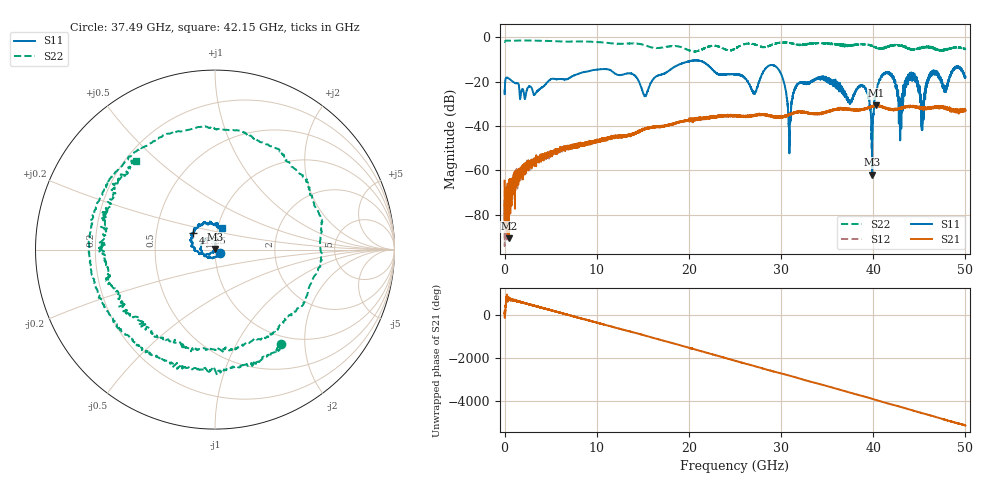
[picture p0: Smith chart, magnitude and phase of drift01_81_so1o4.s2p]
!Created with skrf (http://scikit-rf.org).
# Hz S RI R 50.0
!freq ReS11 ImS11 ReS21 ImS21 ReS12 ImS12 ReS22 ImS22
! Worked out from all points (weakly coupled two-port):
!   10001 points, 300 kHz to 50 GHz, reference 50 ohm
!   highest |S21| = -30.59 dB at 40.3 GHz (marker M1); lowest = -90.7 dB at 460.3 MHz (marker M2)
!   lowest |S11| = -61.9 dB at 39.89 GHz (marker M3), VSWR 1.00, Z = 50 + j0.0786 ohm
!   |S11| at or under -10 dB: start of sweep to end of sweep
!   |S22| runs from -6.4 to -1.3 dB; largest |S21 - S12| = 0.004
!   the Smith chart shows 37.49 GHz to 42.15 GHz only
!   S11 on the Smith chart (normalised r, x): 37.49 GHz: 1.05, -0.04; 41.25 GHz: 0.77, +0.15; 42.15 GHz: 1.05, +0.26
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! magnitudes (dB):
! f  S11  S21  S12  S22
! 300 kHz  -23.9  -64.8  -64.2  -2.1
! 460.3 MHz  -18.6  -90.7  -74.0  -1.4
! 8.335 GHz  -15.9  -48.9  -48.3  -1.8
! 16.67 GHz  -17.1  -40.3  -40.3  -4.8
! 25 GHz  -16.6  -35.5  -35.2  -5.0
! 27.09 GHz  -25.1  -35.0  -35.3  -3.0
! 29.45 GHz  -13.2  -36.0  -35.7  -2.8
! 30.92 GHz  -48.8  -34.7  -35.0  -2.5
! 31.69 GHz  -21.7  -34.1  -33.8  -3.2
! 33.34 GHz  -19.9  -34.5  -34.2  -2.7
! 37.49 GHz  -29.7  -32.4  -32.7  -3.9
! 39 GHz  -22.1  -32.2  -32.3  -3.0
! 39.89 GHz  -61.9  -31.2  -31.1  -3.8
! 40.3 GHz  -24.5  -30.6  -30.9  -4.6
! 41.25 GHz  -16.3  -31.8  -31.7  -4.7
! 41.67 GHz  -15.7  -32.1  -32.4  -4.1
! 42.15 GHz  -17.9  -32.7  -32.7  -3.6
! 42.97 GHz  -30.8  -31.9  -32.0  -3.5
! 44.01 GHz  -17.0  -31.2  -31.1  -5.2
! 45.32 GHz  -37.2  -31.8  -32.1  -4.4
! 46.39 GHz  -15.7  -31.6  -31.3  -5.0
! 50 GHz  -17.8  -33.2  -32.5  -5.2
